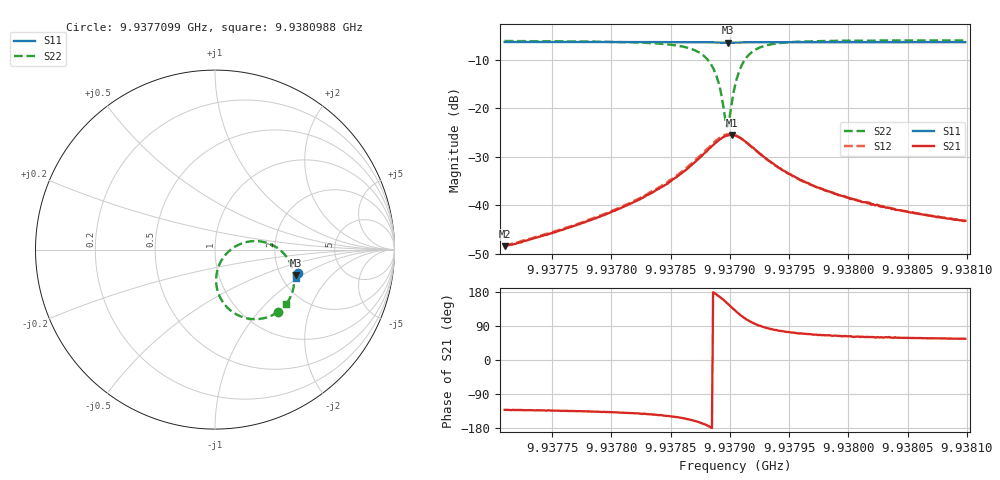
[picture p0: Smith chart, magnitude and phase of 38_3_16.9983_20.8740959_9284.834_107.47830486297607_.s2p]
#  HZ  S  RI  R  50.00
! Rohde & Schwarz Vector Network Analyzer
! Rohde-Schwarz,ZNB20-2Port,1311601062101988,3.16
! Created: UTC 3/20/2024, 10:53:47 PM
! freq[Hz]  re:S11  im:S11  re:S21  im:S21  re:S12  im:S12  re:S22  im:S22
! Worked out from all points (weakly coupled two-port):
!   401 points, 9.9377099 GHz to 9.9380988 GHz, reference 50 ohm
!   highest |S21| = -25.47 dB at 9.9379014 GHz (marker M1); lowest = -48.4 dB at 9.9377099 GHz (marker M2)
!   lowest |S11| = -6.5 dB at 9.9378985 GHz (marker M3), VSWR 2.81, Z = 121 - j44.6 ohm
!   |S11| at or under -10 dB: nowhere
!   |S22| runs from -23.9 to -6.0 dB; largest |S21 - S12| = 0.0041
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9.93770992e9  0.4628 -0.1329  -0.00251 -0.00285  -0.00257 -0.00283  0.3519 -0.3457
9.93777506e9  0.4611 -0.1376  -0.00466 -0.00464  -0.00481 -0.00463  0.3289 -0.3607
9.93781491e9  0.4597 -0.1404  -0.0078 -0.0066  -0.00811 -0.00664  0.2982 -0.3744
9.93784019e9  0.4586 -0.1424  -0.0122 -0.00845  -0.0128 -0.00861  0.258 -0.3848
9.93786644e9  0.4568 -0.1444  -0.0233 -0.00975  -0.0245 -0.0094  0.1631 -0.3791
9.93788102e9  0.4547 -0.1452  -0.0363 -0.00462  -0.0383 -0.00323  0.0599 -0.3133
9.93788491e9  0.454 -0.145  -0.0408 -0.000373  -0.0426 0.00161  0.031 -0.2711
9.9378888e9  0.4533 -0.1447  -0.0446 0.00563  -0.0462 0.00819  0.0102 -0.213
9.93789171e9  0.453 -0.1443  -0.0464 0.0115  -0.0477 0.0149  0.00631 -0.1592
9.93789657e9  0.4525 -0.1431  -0.0464 0.0233  -0.046 0.0274  0.0346 -0.0624
9.93789852e9  0.4525 -0.1426  -0.0445 0.0282  -0.0435 0.0321  0.0594 -0.0274
9.93789949e9  0.4527 -0.1425  -0.0433 0.0305  -0.0421 0.0343  0.0742 -0.0118
9.93790143e9  0.453 -0.142  -0.0403 0.0348  -0.0384 0.0382  0.1088 0.0147
9.93790435e9  0.4534 -0.1415  -0.0344 0.0397  -0.0317 0.0423  0.1661 0.0399
9.93790727e9  0.4541 -0.1411  -0.0276 0.0425  -0.0247 0.0444  0.2246 0.0474
9.93791115e9  0.455 -0.141  -0.0188 0.0433  -0.0161 0.0444  0.2926 0.0364
9.93792185e9  0.4567 -0.1422  -0.00283 0.0369  -0.0012 0.0367  0.4008 -0.0435
9.93794226e9  0.4575 -0.1449  0.0054 0.0235  0.0062 0.0232  0.4413 -0.161
9.93796948e9  0.4571 -0.1476  0.00625 0.0149  0.00663 0.0147  0.4332 -0.2296
9.93799962e9  0.4565 -0.1501  0.00559 0.0106  0.00582 0.0105  0.4205 -0.2635
9.93803461e9  0.4555 -0.1527  0.00458 0.00821  0.00496 0.008  0.4093 -0.2844
9.93809877e9  0.4537 -0.1571  0.00387 0.00574  0.00398 0.00572  0.3958 -0.3045
